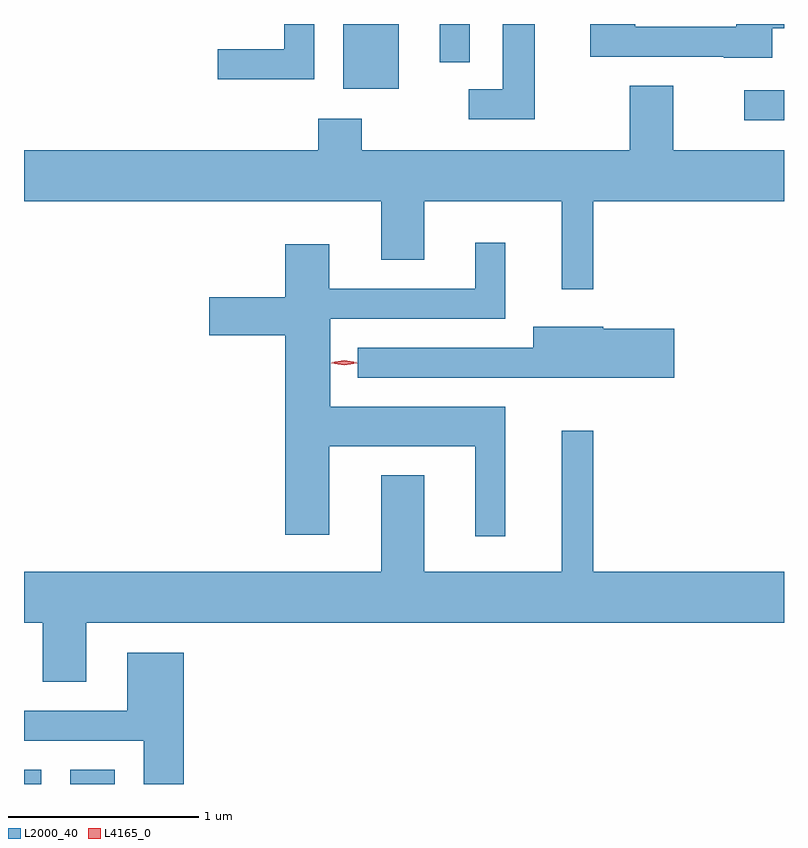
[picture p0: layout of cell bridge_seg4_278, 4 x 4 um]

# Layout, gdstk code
import gdstk
lib = gdstk.Library(unit=1e-6, precision=1e-09)
def R(c, l, rs):  # rectangles x0, y0, x1, y1
    for r in rs: c.add(gdstk.rectangle(r[:2], r[2:], *l))
def P(c, l, *ps):  # polygons
    for p in ps: c.add(gdstk.Polygon(p, *l))
L2000_40 = (2000, 40)
L4165_0 = (4165, 0)

bridge_seg4_278 = lib.new_cell('bridge_seg4_278')
R(bridge_seg4_278, L2000_40, [(400.032,1340.508,400.124,1340.584), (400.276,1340.508,400.509,1340.584), (403.823,1344.001,404.032,1344.159), (401.711,1344.166,402.004,1344.508), (402.221,1344.308,402.379,1344.508)])
P(bridge_seg4_278, L2000_40, [(402.719,1344.508),(402.551,1344.508),(402.551,1344.164),(402.373,1344.164),(402.373,1344.006),(402.719,1344.006)],
  [(403.969,1344.486),(404.032,1344.486),(404.032,1344.508),(403.781,1344.508),(403.781,1344.494),(403.249,1344.494),(403.249,1344.508),(403.011,1344.508),(403.011,1344.336),(403.715,1344.336),(403.715,1344.331),(403.969,1344.331)],
  [(401.559,1344.508),(401.401,1344.508),(401.401,1344.374),(401.053,1344.374),(401.053,1344.216),(401.559,1344.216)],
  [(403.029,1343.576),(404.032,1343.576),(404.032,1343.844),(403.449,1343.844),(403.449,1344.184),(403.221,1344.184),(403.221,1343.844),(401.809,1343.844),(401.809,1344.009),(401.581,1344.009),(401.581,1343.844),(400.032,1343.844),(400.032,1343.576),(401.911,1343.576),(401.911,1343.266),(402.139,1343.266),(402.139,1343.576),(402.861,1343.576),(402.861,1343.113),(403.029,1343.113)],
  [(402.564,1342.494),(401.644,1342.494),(401.644,1342.956),(402.564,1342.956),(402.564,1343.358),(402.406,1343.358),(402.406,1343.114),(401.639,1343.114),(401.639,1343.349),(401.406,1343.349),(401.406,1343.069),(401.006,1343.069),(401.006,1342.871),(401.406,1342.871),(401.406,1341.821),(401.639,1341.821),(401.639,1342.286),(402.406,1342.286),(402.406,1341.813),(402.564,1341.813)],
  [(403.454,1342.904),(403.08,1342.904),(403.08,1342.914),(402.711,1342.914),(402.711,1342.804),(401.788,1342.804),(401.788,1342.646),(403.454,1342.646)],
  [(400.359,1341.356),(404.032,1341.356),(404.032,1341.624),(403.029,1341.624),(403.029,1342.368),(402.861,1342.368),(402.861,1341.624),(402.139,1341.624),(402.139,1342.134),(401.911,1342.134),(401.911,1341.624),(400.032,1341.624),(400.032,1341.356),(400.131,1341.356),(400.131,1341.046),(400.359,1341.046)],
  [(400.874,1341.199),(400.576,1341.199),(400.576,1340.894),(400.032,1340.894),(400.032,1340.736),(400.661,1340.736),(400.661,1340.508),(400.874,1340.508)])
P(bridge_seg4_278, L4165_0, [(401.717,1342.712),(401.648,1342.722),(401.647,1342.722),(401.648,1342.722),(401.716,1342.732),(401.786,1342.723),(401.786,1342.722),(401.786,1342.722)],
  [(401.717,1342.718),(401.651,1342.727),(401.651,1342.728),(401.651,1342.728),(401.717,1342.738),(401.782,1342.728),(401.783,1342.728),(401.782,1342.727)])

lib.write_gds('bridge_seg4_278.gds')
